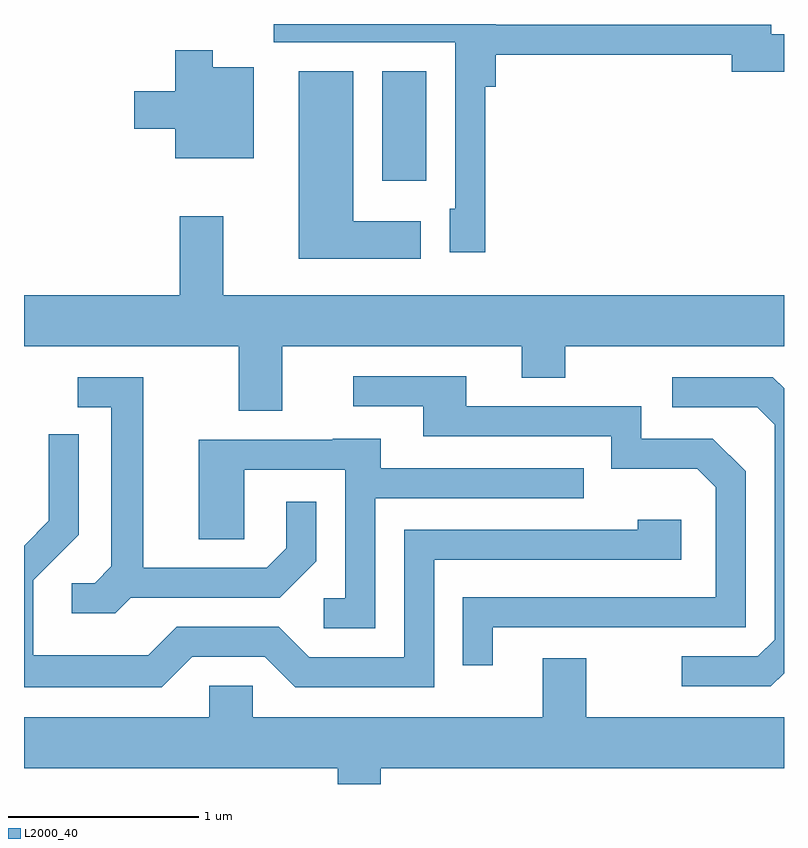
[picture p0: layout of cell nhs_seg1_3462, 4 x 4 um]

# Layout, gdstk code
import gdstk
lib = gdstk.Library(unit=1e-6, precision=1e-09)
def R(c, l, rs):  # rectangles x0, y0, x1, y1
    for r in rs: c.add(gdstk.rectangle(r[:2], r[2:], *l))
def P(c, l, *ps):  # polygons
    for p in ps: c.add(gdstk.Polygon(p, *l))
L2000_40 = (2000, 40)

nhs_seg1_3462 = lib.new_cell('nhs_seg1_3462')
R(nhs_seg1_3462, L2000_40, [(291.496,904.886,291.729,905.464)])
P(nhs_seg1_3462, L2000_40, [(292.039,905.381),(292.094,905.381),(292.094,905.551),(293.336,905.551),(293.336,905.461),(293.611,905.461),(293.611,905.659),(293.544,905.659),(293.544,905.709),(292.094,905.709),(292.094,905.712),(290.926,905.712),(290.926,905.616),(291.881,905.616),(291.881,904.739),(291.851,904.739),(291.851,904.511),(292.039,904.511)],
  [(290.819,905.484),(290.604,905.484),(290.604,905.574),(290.406,905.574),(290.406,905.359),(290.191,905.359),(290.191,905.161),(290.406,905.161),(290.406,905.006),(290.819,905.006)],
  [(291.699,904.674),(291.344,904.674),(291.344,905.464),(291.056,905.464),(291.056,904.476),(291.699,904.476)],
  [(290.969,904.016),(292.231,904.016),(292.231,903.851),(292.459,903.851),(292.459,904.016),(293.611,904.016),(293.611,904.284),(290.659,904.284),(290.659,904.699),(290.431,904.699),(290.431,904.284),(289.611,904.284),(289.611,904.016),(290.741,904.016),(290.741,903.676),(290.969,903.676)],
  [(292.079,902.536),(293.409,902.536),(293.409,903.357),(293.237,903.529),(292.859,903.529),(292.859,903.699),(291.939,903.699),(291.939,903.859),(291.343,903.859),(291.343,903.701),(291.711,903.701),(291.711,903.541),(292.701,903.541),(292.701,903.371),(293.154,903.371),(293.251,903.274),(293.251,902.694),(291.921,902.694),(291.921,902.338),(292.079,902.338)],
  [(290.172,902.691),(290.957,902.691),(291.149,902.884),(291.149,903.198),(290.991,903.198),(290.991,902.952),(290.889,902.849),(290.239,902.849),(290.239,903.854),(289.893,903.854),(289.893,903.696),(290.071,903.696),(290.071,902.857),(289.984,902.769),(289.863,902.769),(289.863,902.611),(290.092,902.611)],
  [(293.611,902.295),(293.611,903.795),(293.552,903.854),(293.023,903.854),(293.023,903.696),(293.469,903.696),(293.561,903.604),(293.561,902.472),(293.474,902.384),(293.073,902.384),(293.073,902.226),(293.542,902.226)],
  [(290.497,902.381),(290.879,902.381),(291.039,902.221),(291.769,902.221),(291.769,902.891),(293.069,902.891),(293.069,903.104),(292.841,903.104),(292.841,903.049),(291.611,903.049),(291.611,902.379),(291.112,902.379),(290.952,902.539),(290.414,902.539),(290.264,902.389),(289.659,902.389),(289.659,902.784),(289.899,903.024),(289.899,903.553),(289.741,903.553),(289.741,903.097),(289.611,902.967),(289.611,902.221),(290.337,902.221)],
  [(291.459,903.216),(292.558,903.216),(292.558,903.374),(291.489,903.374),(291.489,903.529),(291.235,903.529),(291.235,903.524),(290.531,903.524),(290.531,903.001),(290.769,903.001),(290.769,903.366),(291.301,903.366),(291.301,902.689),(291.188,902.689),(291.188,902.531),(291.459,902.531)],
  [(290.586,902.229),(290.586,902.064),(289.611,902.064),(289.611,901.796),(291.261,901.796),(291.261,901.712),(291.489,901.712),(291.489,901.796),(293.611,901.796),(293.611,902.064),(292.569,902.064),(292.569,902.374),(292.341,902.374),(292.341,902.064),(290.814,902.064),(290.814,902.229)])

lib.write_gds('nhs_seg1_3462.gds')
